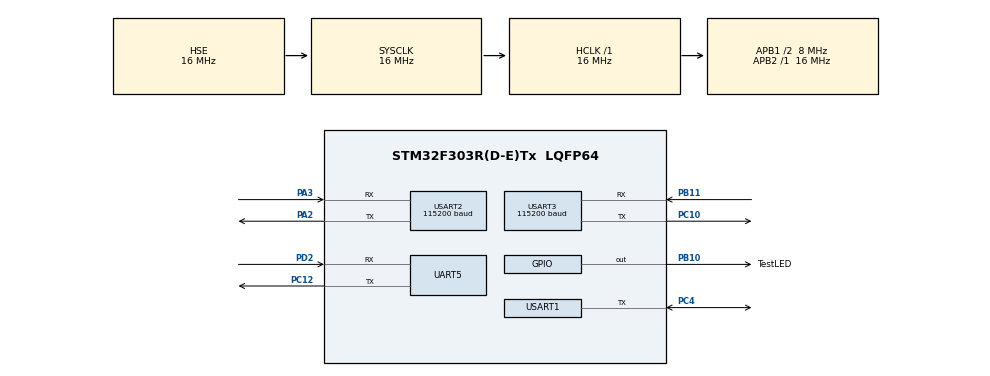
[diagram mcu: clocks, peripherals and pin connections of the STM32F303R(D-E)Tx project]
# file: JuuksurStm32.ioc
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Dma.Request0=USART1_TX
Dma.Request1=USART2_TX
Dma.Request2=USART3_TX
Dma.USART1_TX.0.Direction=DMA_MEMORY_TO_PERIPH
Dma.USART1_TX.0.Instance=DMA1_Channel4
Dma.USART1_TX.0.MemDataAlignment=DMA_MDATAALIGN_BYTE
Dma.USART1_TX.0.MemInc=DMA_MINC_ENABLE
Dma.USART1_TX.0.Mode=DMA_NORMAL
Dma.USART1_TX.0.PeriphDataAlignment=DMA_PDATAALIGN_BYTE
Dma.USART1_TX.0.PeriphInc=DMA_PINC_DISABLE
Dma.USART1_TX.0.Priority=DMA_PRIORITY_LOW
Dma.USART2_TX.1.Direction=DMA_MEMORY_TO_PERIPH
Dma.USART2_TX.1.Instance=DMA1_Channel7
Dma.USART2_TX.1.MemDataAlignment=DMA_MDATAALIGN_BYTE
Dma.USART2_TX.1.MemInc=DMA_MINC_ENABLE
Dma.USART2_TX.1.Mode=DMA_NORMAL
Dma.USART2_TX.1.PeriphDataAlignment=DMA_PDATAALIGN_BYTE
Dma.USART2_TX.1.PeriphInc=DMA_PINC_DISABLE
Dma.USART2_TX.1.Priority=DMA_PRIORITY_LOW
Dma.USART3_TX.2.Direction=DMA_MEMORY_TO_PERIPH
Dma.USART3_TX.2.Instance=DMA1_Channel2
Dma.USART3_TX.2.MemDataAlignment=DMA_MDATAALIGN_BYTE
Dma.USART3_TX.2.MemInc=DMA_MINC_ENABLE
Dma.USART3_TX.2.Mode=DMA_NORMAL
Dma.USART3_TX.2.PeriphDataAlignment=DMA_PDATAALIGN_BYTE
Dma.USART3_TX.2.PeriphInc=DMA_PINC_DISABLE
Dma.USART3_TX.2.Priority=DMA_PRIORITY_LOW
Mcu.Family=STM32F3
Mcu.Name=STM32F303R(D-E)Tx
Mcu.Package=LQFP64
NVIC.DMA1_Channel2_IRQn=true\:1\:0\:true\:false\:true\:false
NVIC.DMA1_Channel4_IRQn=true\:1\:0\:true\:false\:true\:false
NVIC.DMA1_Channel7_IRQn=true\:1\:0\:true\:false\:true\:false
NVIC.PriorityGroup=NVIC_PRIORITYGROUP_4
NVIC.TIM6_DAC_IRQn=true\:2\:0\:true\:false\:true\:true
NVIC.TIM7_IRQn=true\:2\:0\:true\:false\:true\:true
NVIC.UART5_IRQn=true\:0\:0\:false\:false\:true\:true
NVIC.USART1_IRQn=true\:0\:0\:false\:false\:true\:true
NVIC.USART2_IRQn=true\:0\:0\:false\:false\:true\:true
NVIC.USART3_IRQn=true\:0\:0\:false\:false\:true\:true
PA13.Mode=Serial_Wire
PA13.Signal=SYS_JTMS-SWDIO
PA14.Mode=Serial_Wire
PA14.Signal=SYS_JTCK-SWCLK
PA2.Mode=Asynchronous
PA2.Signal=USART2_TX
PA3.Mode=Asynchronous
PA3.Signal=USART2_RX
PB10.GPIO_Label=TestLED
PB10.Signal=GPIO_Output
PB11.Mode=Asynchronous
PB11.Signal=USART3_RX
PC10.Mode=Asynchronous
PC10.Signal=USART3_TX
PC12.Mode=Asynchronous
PC12.Signal=UART5_TX
PC4.Mode=Half_duplex(single_wire_mode)
PC4.Signal=USART1_TX
PD2.Mode=Asynchronous
PD2.Signal=UART5_RX
PF0-OSC_IN.Mode=HSE-External-Oscillator
PF0-OSC_IN.Signal=RCC_OSC_IN
PF1-OSC_OUT.Mode=HSE-External-Oscillator
PF1-OSC_OUT.Signal=RCC_OSC_OUT
ProjectManager.HeapSize=0x200
ProjectManager.StackSize=0x400
ProjectManager.TargetToolchain=Makefile
RCC.AHBFreq_Value=16000000
RCC.APB1CLKDivider=RCC_HCLK_DIV2
RCC.APB1Freq_Value=8000000
RCC.APB1TimFreq_Value=16000000
RCC.APB2Freq_Value=16000000
RCC.APB2TimFreq_Value=16000000
RCC.CortexFreq_Value=16000000
RCC.HCLKFreq_Value=16000000
RCC.HSE_VALUE=16000000
RCC.HSI_VALUE=8000000
RCC.LSE_VALUE=32768
RCC.PLLSourceVirtual=RCC_PLLSOURCE_HSE
RCC.SYSCLKFreq_VALUE=16000000
RCC.SYSCLKSourceVirtual=RCC_SYSCLKSOURCE_HSE
RCC.USBFreq_Value=32000000
TIM6.Period=56000-1
TIM6.Prescaler=18-1
TIM7.AutoReloadPreload=TIM_AUTORELOAD_PRELOAD_DISABLE
TIM7.Period=53000-1
TIM7.Prescaler=18-1
USART1.BaudRate=115200
USART1.VirtualMode-Half_duplex(single_wire_mode)=VM_ASYNC
USART2.BaudRate=115200
USART2.VirtualMode-Asynchronous=VM_ASYNC
USART3.BaudRate=115200
USART3.VirtualMode-Asynchronous=VM_ASYNC
VP_TIM6_VS_ClockSourceINT.Mode=Enable_Timer
VP_TIM7_VS_ClockSourceINT.Mode=Enable_Timer
board=custom

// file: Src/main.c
/* USER CODE BEGIN Header */
/**
  ******************************************************************************
  * @file           : main.c
  * @brief          : Main program body
  ******************************************************************************
  ** This notice applies to any and all portions of this file
  * that are not between comment pairs USER CODE BEGIN and
  * USER CODE END. Other portions of this file, whether
  * inserted by the user or by software development tools
  * are owned by their respective copyright owners.
  *
  * COPYRIGHT(c) 2019 STMicroelectronics
  *
  * Redistribution and use in source and binary forms, with or without modification,
  * are permitted provided that the following conditions are met:
  *   1. Redistributions of source code must retain the above copyright notice,
  *      this list of conditions and the following disclaimer.
  *   2. Redistributions in binary form must reproduce the above copyright notice,
  *      this list of conditions and the following disclaimer in the documentation
  *      and/or other materials provided with the distribution.
  *   3. Neither the name of STMicroelectronics nor the names of its contributors
  *      may be used to endorse or promote products derived from this software
  *      without specific prior written permission.
  *
  * THIS SOFTWARE IS PROVIDED BY THE COPYRIGHT HOLDERS AND CONTRIBUTORS "AS IS"
  * AND ANY EXPRESS OR IMPLIED WARRANTIES, INCLUDING, BUT NOT LIMITED TO, THE
  * IMPLIED WARRANTIES OF MERCHANTABILITY AND FITNESS FOR A PARTICULAR PURPOSE ARE
  * DISCLAIMED. IN NO EVENT SHALL THE COPYRIGHT HOLDER OR CONTRIBUTORS BE LIABLE
  * FOR ANY DIRECT, INDIRECT, INCIDENTAL, SPECIAL, EXEMPLARY, OR CONSEQUENTIAL
  * DAMAGES (INCLUDING, BUT NOT LIMITED TO, PROCUREMENT OF SUBSTITUTE GOODS OR
  * SERVICES; LOSS OF USE, DATA, OR PROFITS; OR BUSINESS INTERRUPTION) HOWEVER
  * CAUSED AND ON ANY THEORY OF LIABILITY, WHETHER IN CONTRACT, STRICT LIABILITY,
  * OR TORT (INCLUDING NEGLIGENCE OR OTHERWISE) ARISING IN ANY WAY OUT OF THE USE
  * OF THIS SOFTWARE, EVEN IF ADVISED OF THE POSSIBILITY OF SUCH DAMAGE.
  *
  ******************************************************************************
  */
/* USER CODE END Header */

#include "main.h"
#include "dma.h"
#include "tim.h"
#include "usart.h"
#include "gpio.h"

/* USER CODE BEGIN Includes */
#include <math.h>
/* USER CODE END Includes */

/* USER CODE BEGIN PM */
#define DEG2RAD 0.01745329251f
/* USER CODE END PM */

/* USER CODE BEGIN PV */
IbusChannels rxChannels; // latest channel state from receiver
IbusChannels piChannels; // latest channel state from pi (autonomous)
IbusStm32State piIbus; // both rx and tx to pi
IbusStm32State rxIbus; // rx comes from receiver, tx goes to FC
IbusStm32State telIbus; // half-duplex UART to FC for telemetry
TfminiStm32State tfmini;
int16_t telYaw, telPitch, telRoll;
int16_t telAccX, telAccY, telAccZ;
void ibus_event(void *usrData, IbusEvent *e);
uint16_t realHeight;
uint16_t tfminiLast;
uint32_t lastPiData; // last tick we received control data from Pi
uint8_t failsafePrev; // was failsafe enabled last time we checked (for edge detection)
uint8_t manualPrev; // was manual mode enabled last time we checked? (for edge detection)
FailsafeState failsafe; // state for failsafe autohover

/* USER CODE END PV */

void SystemClock_Config(void);

int main(void)
{

  /* MCU Configuration--------------------------------------------------------*/

  /* Reset of all peripherals, Initializes the Flash interface and the Systick. */
  HAL_Init();

  /* USER CODE BEGIN Init */
  lastPiData = 0;
  failsafePrev = 0;
  manualPrev = 0;
  realHeight = 30;
  tfminiLast = 0;
  telRoll = 0;
  telPitch = 0;
  telYaw = 0;
  telAccX = 0;
  telAccY = 0;
  telAccZ = 985; // we expect to be on earth (9.85 m/s2)
  /* USER CODE END Init */

  /* Configure the system clock */
  SystemClock_Config();

  /* USER CODE BEGIN SysInit */
  HAL_Delay(50);
  /* USER CODE END SysInit */

  /* Initialize all configured peripherals */
  MX_GPIO_Init();
  MX_DMA_Init();
  MX_USART2_UART_Init();
  MX_TIM6_Init();
  MX_UART5_Init();
  MX_USART3_UART_Init();
  MX_TIM7_Init();
  MX_USART1_UART_Init();

  /* Infinite loop */
  /* USER CODE BEGIN WHILE */

  tfmini_stm32_init(&tfmini, &huart5);
  ibus_stm32_init(&piIbus, &huart2, 0);
  ibus_stm32_init(&rxIbus, &huart3, 0);
  ibus_stm32_init(&telIbus, &huart1, 1);

  ibus_set_event_callback(&piIbus.ibRx, ibus_event, &piIbus);
  ibus_set_event_callback(&rxIbus.ibRx, ibus_event, &rxIbus);
  ibus_set_event_callback(&telIbus.ibRx, ibus_event, &telIbus);

  printf("\r\nstarting...\r\n");
  // start uart TX timer
  HAL_TIM_Base_Start_IT(&htim6);
  HAL_TIM_Base_Start_IT(&htim7);

  // initialize ibus channels to default value
  int i;
  for(i = 0; i < 14; i++) {
      rxChannels.channels[i] = IBUS_CHANNEL_DEFAULT;
  }
  for(i = 0; i < 14; i++) {
      piChannels.channels[i] = IBUS_CHANNEL_DEFAULT;
  }
  uint32_t curTick;

  while (1)
  {
    /* USER CODE END WHILE */

    /* USER CODE BEGIN 3 */
    curTick = HAL_GetTick();
    HAL_GPIO_WritePin(RGB_LED_0_RED_PORT, RGB_LED_0_RED_PIN, GPIO_PIN_SET);
    HAL_GPIO_WritePin(TestLED_GPIO_Port, TestLED_Pin, (curTick%500)>250);
    ibus_stm32_process_rx(&piIbus);
    ibus_stm32_process_rx(&rxIbus);
    ibus_stm32_process_rx(&telIbus);
    tfmini_stm32_process_rx(&tfmini);
    if(tfminiLast != tfmini.tfmini.dist) {
        realHeight = (uint16_t)(cosf((((float)telRoll*100.0f)*DEG2RAD)) * cosf(((float)telPitch*100.0f)*DEG2RAD) * tfmini.tfmini.dist);
        tfminiLast = tfmini.tfmini.dist;
    }
  }
  /* USER CODE END 3 */
}

void SystemClock_Config(void)
{
  RCC_OscInitTypeDef RCC_OscInitStruct = {0};
  RCC_ClkInitTypeDef RCC_ClkInitStruct = {0};
  RCC_PeriphCLKInitTypeDef PeriphClkInit = {0};

  /**Initializes the CPU, AHB and APB busses clocks
  */
  RCC_OscInitStruct.OscillatorType = RCC_OSCILLATORTYPE_HSE;
  RCC_OscInitStruct.HSEState = RCC_HSE_ON;
  RCC_OscInitStruct.HSIState = RCC_HSI_ON;
  RCC_OscInitStruct.PLL.PLLState = RCC_PLL_NONE;
  if (HAL_RCC_OscConfig(&RCC_OscInitStruct) != HAL_OK)
  {
    Error_Handler();
  }
  /**Initializes the CPU, AHB and APB busses clocks
  */
  RCC_ClkInitStruct.ClockType = RCC_CLOCKTYPE_HCLK|RCC_CLOCKTYPE_SYSCLK
                              |RCC_CLOCKTYPE_PCLK1|RCC_CLOCKTYPE_PCLK2;
  RCC_ClkInitStruct.SYSCLKSource = RCC_SYSCLKSOURCE_HSE;
  RCC_ClkInitStruct.AHBCLKDivider = RCC_SYSCLK_DIV1;
  RCC_ClkInitStruct.APB1CLKDivider = RCC_HCLK_DIV2;
  RCC_ClkInitStruct.APB2CLKDivider = RCC_HCLK_DIV1;

  if (HAL_RCC_ClockConfig(&RCC_ClkInitStruct, FLASH_LATENCY_0) != HAL_OK)
  {
    Error_Handler();
  }
  PeriphClkInit.PeriphClockSelection = RCC_PERIPHCLK_USART1|RCC_PERIPHCLK_USART2
                              |RCC_PERIPHCLK_USART3|RCC_PERIPHCLK_UART5;
  PeriphClkInit.Usart1ClockSelection = RCC_USART1CLKSOURCE_PCLK2;
  PeriphClkInit.Usart2ClockSelection = RCC_USART2CLKSOURCE_PCLK1;
  PeriphClkInit.Usart3ClockSelection = RCC_USART3CLKSOURCE_PCLK1;
  PeriphClkInit.Uart5ClockSelection = RCC_UART5CLKSOURCE_PCLK1;
  if (HAL_RCCEx_PeriphCLKConfig(&PeriphClkInit) != HAL_OK)
  {
    Error_Handler();
  }
}

/* USER CODE BEGIN 4 */

int __io_putchar(int ch)
{
    //110
  //uint8_t c[1];
  //c[0] = ch & 0xFF;
  //HAL_UART_Transmit(&huart5, &*c, 1, 10);
  return ch;
}

// this is used for libc stdio (printf etc)
int _write(int file,char *ptr, int len)
{
  int DataIdx;
  for(DataIdx= 0; DataIdx< len; DataIdx++)
  {
    __io_putchar(*ptr++);
  }
  return len;
}

// NOTE: this should always be called from main not an interrupt
void ibus_event(void *usrData, IbusEvent *e) {
  if(usrData == &piIbus) {
    //printf("pi event!\r\n");
    switch(e->type) {
        case IBUS_CMD_CH:
            piChannels = e->e.ch;
            lastPiData = HAL_GetTick();
            //printf("pi ch: %d %d %d %d\r\n", e->e.ch.channels[0], e->e.ch.channels[1], e->e.ch.channels[2], e->e.ch.channels[3]);
            break;
    }
  } else if(usrData == &rxIbus) {
    switch(e->type) {
        case IBUS_CMD_CH:
            rxChannels = e->e.ch;
            //printf("rx channels: %d %d %d %d %d\r\n", e->e.ch.channels[0], e->e.ch.channels[1], e->e.ch.channels[2], e->e.ch.channels[3], e->e.ch.channels[5]);
            break;
    }
  } else if(usrData == &telIbus) {
      int sensor;
      int nextSensor = 1;
      switch(e->type) {
          case IBUS_CMD_SENSOR_MEASUREMENT:
              sensor = e->e.smeas.sensorId;
              nextSensor = sensor+1;
              if(nextSensor > 1 && nextSensor <= 6) { // 1 - roll, 2- pitch, 3 - yaw, 4 - accX, 5 - accY, 6 - accZ
                  send_telemetry_sensor_request(&telIbus, nextSensor);
              }
              // NOTE: ideally we would do discovery, but aint nobody got time for that

              switch(sensor) {
                  case 1: // roll
                    telRoll = e->e.smeas.meas; // angle*100
                    break;
                  case 2: // pitch
                    telPitch = e->e.smeas.meas;
                    break;
                  case 3: // yaw
                    telYaw = e->e.smeas.meas;
                    break;
                  case 4:
                    telAccX = e->e.smeas.meas;
                    break;
                  case 5:
                    telAccY = e->e.smeas.meas;
                    break;
                  case 6:
                    telAccZ = e->e.smeas.meas;
                    break;
              }
              break;
      }
  }
}

/* USER CODE END 4 */

void Error_Handler(void)
{
}

/************************ (C) COPYRIGHT STMicroelectronics *****END OF FILE****/
